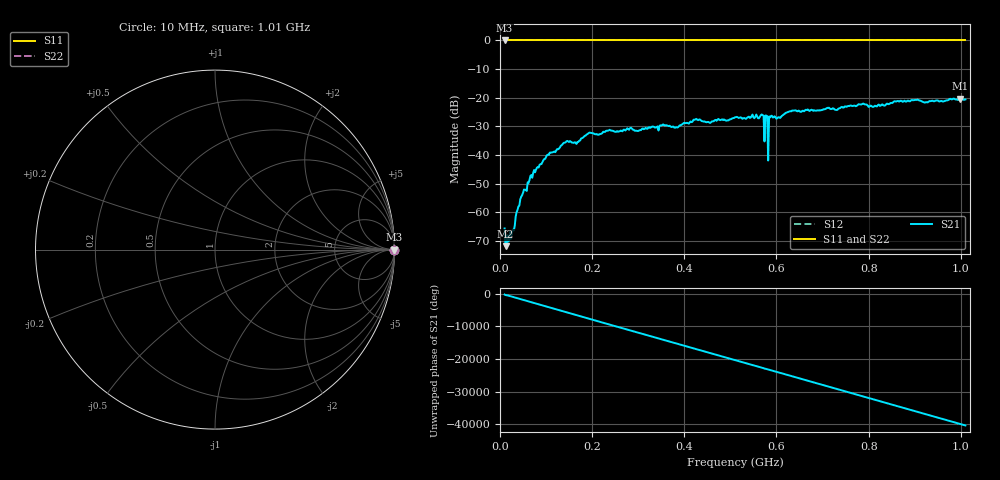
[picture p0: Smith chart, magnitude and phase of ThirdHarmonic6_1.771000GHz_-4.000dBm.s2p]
! 8/16/2025 9:23:27 PM
! C:\ANRITSUVNA\TEMP\TEMP.S2P
! CHANNEL.1
! TR.MEASUREMENT
! RAW.DATA
! RF.CORRECTION.OFF
! AVERAGING.OFF
! IF.BANDWIDTH: 5KHZ
! SWEEPTYPE:  FREQ.SWEEP(Linear)
! Reference Plane Port Info
! PORT:  PORT1  PORT2
! DISTANCE:  0  m  0  m
! TIME:  0  s  0  s
! PHASE.OFFSET:  0  deg.  0  deg.
! LOSS:  0  dB  0  dB
! REF.LOSS:  0  dB  0  dB
! REF.FREQ:  0  Hz  0  Hz
! Power Info
! POWER:  -20  dBm  -20  dBm
! EFF.POWER:  -20  dBm  -20  dBm
! SOURCE.ATTEN:  0  dB  0  dB
! TEST.ATTEN:  0  dB  0  dB
# GHZ S RI R 50.0
! FREQ.GHZ  S11RE  S11IM  S21RE  S21IM  S12RE  S12IM  S22RE  S22IM
!; PortSelection: Port_12
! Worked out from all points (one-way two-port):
!   501 points, 10 MHz to 1.01 GHz, reference 50 ohm
!   highest |S21| = -20.27 dB at 998 MHz (marker M1); lowest = -71.8 dB at 12 MHz (marker M2)
!   lowest |S11| = 0.0 dB at 10 MHz (marker M3)
!   |S11| at or under -10 dB: nowhere
!   |S22| runs from 0.0 to 0.0 dB; largest |S21 - S12| = 1.1
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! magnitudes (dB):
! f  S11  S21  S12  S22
! 10 MHz  0.0  -65.6  0.0  0.0
! 12 MHz  0.0  -71.8  0.0  0.0
! 16 MHz  0.0  -67.9  0.0  0.0
! 28 MHz  0.0  -66.0  0.0  0.0
! 48 MHz  0.0  -54.0  0.0  0.0
! 78 MHz  0.0  -45.1  0.0  0.0
! 142 MHz  0.0  -35.6  0.0  0.0
! 178 MHz  0.0  -34.1  0.0  0.0
! 196 MHz  0.0  -32.2  0.0  0.0
! 344 MHz  0.0  -31.4  0.0  0.0
! 510 MHz  0.0  -26.8  0.0  0.0
! 568 MHz  0.0  -25.8  0.0  0.0
! 570 MHz  0.0  -26.0  0.0  0.0
! 576 MHz  0.0  -26.2  0.0  0.0
! 578 MHz  0.0  -26.2  0.0  0.0
! 580 MHz  0.0  -26.4  0.0  0.0
! 586 MHz  0.0  -26.9  0.0  0.0
! 588 MHz  0.0  -26.3  0.0  0.0
! 678 MHz  0.0  -24.3  0.0  0.0
! 844 MHz  0.0  -22.2  0.0  0.0
! 998 MHz  0.0  -20.3  0.0  0.0
! 1.01 GHz  0.0  -20.6  0.0  0.0
